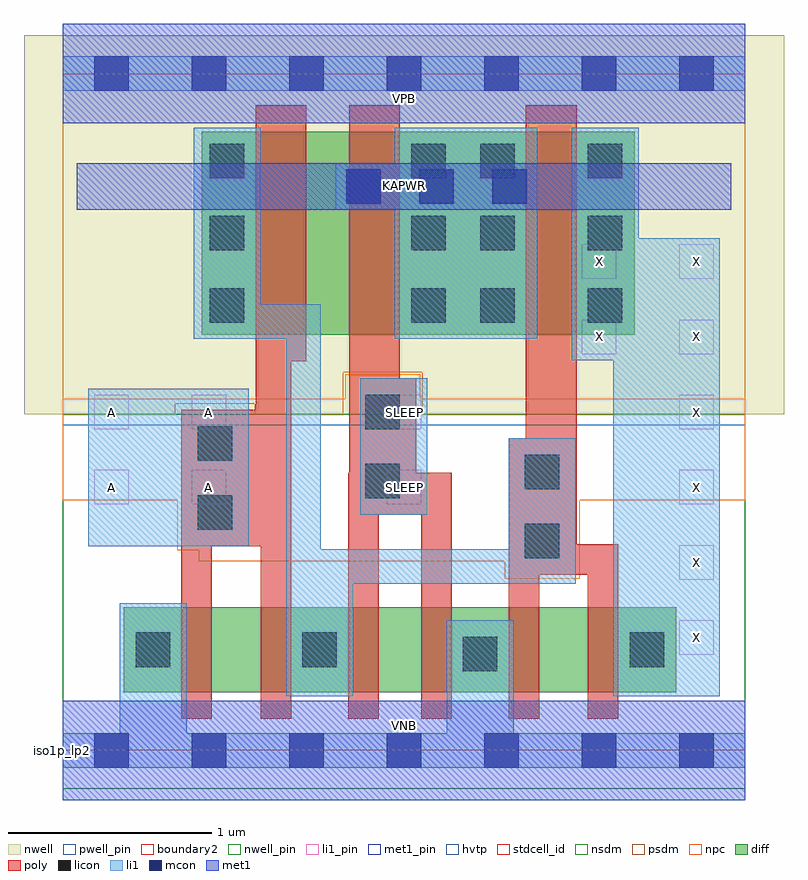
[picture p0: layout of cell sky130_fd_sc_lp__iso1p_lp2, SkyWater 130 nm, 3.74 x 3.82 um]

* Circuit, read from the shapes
.subckt sky130_fd_sc_lp__iso1p_lp2 A KAPWR SLEEP VGND VNB VPB VPWR X
XM1 n1 A VGND VNB sky130_fd_pr__nfet_01v8 w=0.42 l=0.15
XM2 n2 A n1 VNB sky130_fd_pr__nfet_01v8 w=0.42 l=0.15
XM3 n3 SLEEP n2 VNB sky130_fd_pr__nfet_01v8 w=0.42 l=0.15
XM4 VGND SLEEP n3 VNB sky130_fd_pr__nfet_01v8 w=0.42 l=0.15
XM5 n4 n2 VGND VNB sky130_fd_pr__nfet_01v8 w=0.42 l=0.15
XM6 X n2 n4 VNB sky130_fd_pr__nfet_01v8 w=0.42 l=0.15
XM7 n5 A n2 VPB sky130_fd_pr__pfet_01v8_hvt w=1 l=0.25
XM8 KAPWR SLEEP n5 VPB sky130_fd_pr__pfet_01v8_hvt w=1 l=0.25
XM9 X n2 KAPWR VPB sky130_fd_pr__pfet_01v8_hvt w=1 l=0.25
.ends

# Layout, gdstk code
import gdstk
lib = gdstk.Library(unit=1e-6, precision=1e-09)
def R(c, l, rs):  # rectangles x0, y0, x1, y1
    for r in rs: c.add(gdstk.rectangle(r[:2], r[2:], *l))
def A(c, l, x, y, w, h, nx, ny, dx, dy):  # array of equal rectangles
    R(c, l, [(x+i*dx, y+j*dy, x+i*dx+w, y+j*dy+h) for i in range(nx) for j in range(ny)])
def P(c, l, *ps):  # polygons
    for p in ps: c.add(gdstk.Polygon(p, *l))
nwell_pin = (64, 16)
nwell = (64, 20)
diff = (65, 20)
poly = (66, 20)
licon = (66, 44)
li1_pin = (67, 16)
li1 = (67, 20)
mcon = (67, 44)
met1_pin = (68, 16)
met1 = (68, 20)
hvtp = (78, 44)
stdcell_id = (81, 4)
nsdm = (93, 44)
psdm = (94, 20)
npc = (95, 20)
pwell_pin = (122, 16)
boundary2 = (236, 0)

sky130_fd_sc_lp__iso1p_l = lib.new_cell('sky130_fd_sc_lp__iso1p_lp2')
R(sky130_fd_sc_lp__iso1p_l, nwell_pin, [(0,3.085,3.36,3.33)])
R(sky130_fd_sc_lp__iso1p_l, nwell, [(-0.19,1.655,3.55,3.52)])
R(sky130_fd_sc_lp__iso1p_l, diff, [(0.3,0.285,3.02,0.705), (0.685,2.045,2.815,3.045)])
P(sky130_fd_sc_lp__iso1p_l, poly, [(1.2,3.175),(0.95,3.175),(0.95,1.675),(0.585,1.675),(0.585,0.155),(0.735,0.155),(0.735,1.005),(0.975,1.005),(0.975,0.155),(1.125,0.155),(1.125,1.915),(1.2,1.915)],
  [(1.915,1.365),(1.74,1.365),(1.74,1.83),(1.66,1.83),(1.66,3.175),(1.41,3.175),(1.41,1.365),(1.405,1.365),(1.405,0.155),(1.555,0.155),(1.555,1.16),(1.765,1.16),(1.765,0.155),(1.915,0.155)],
  [(2.735,1.015),(2.53,1.015),(2.53,3.175),(2.28,3.175),(2.28,1.535),(2.195,1.535),(2.195,0.155),(2.345,0.155),(2.345,0.865),(2.585,0.865),(2.585,0.155),(2.735,0.155)])
A(sky130_fd_sc_lp__iso1p_l, licon, 0.725, 2.105, 0.17, 0.17, 1, 3, 0, 0.355)
A(sky130_fd_sc_lp__iso1p_l, licon, 1.715, 2.105, 0.17, 0.17, 1, 3, 0, 0.355)
A(sky130_fd_sc_lp__iso1p_l, licon, 2.055, 2.105, 0.17, 0.17, 1, 3, 0, 0.355)
A(sky130_fd_sc_lp__iso1p_l, licon, 2.585, 2.105, 0.17, 0.17, 1, 3, 0, 0.355)
R(sky130_fd_sc_lp__iso1p_l, licon, [(1.97,0.39,2.14,0.56), (0.36,0.41,0.53,0.58), (1.18,0.41,1.35,0.58), (2.79,0.41,2.96,0.58), (2.275,0.945,2.445,1.115), (0.665,1.085,0.835,1.255), (1.49,1.24,1.66,1.41), (2.275,1.285,2.445,1.455), (0.665,1.425,0.835,1.595), (1.49,1.58,1.66,1.75)])
A(sky130_fd_sc_lp__iso1p_l, li1_pin, 3.035, 0.47, 0.17, 0.17, 1, 6, 0, 0.37)
R(sky130_fd_sc_lp__iso1p_l, li1_pin, [(0.155,1.21,0.325,1.38), (0.635,1.21,0.805,1.38), (1.595,1.21,1.765,1.38), (0.155,1.58,0.325,1.75), (0.635,1.58,0.805,1.75), (1.595,1.58,1.765,1.75), (2.555,1.95,2.725,2.12), (2.555,2.32,2.725,2.49)])
R(sky130_fd_sc_lp__iso1p_l, li1, [(0.125,1.005,0.915,1.78), (1.465,1.16,1.795,1.83), (0,3.245,3.36,3.415)])
P(sky130_fd_sc_lp__iso1p_l, li1, [(0.28,0.085),(0.28,0.725),(0.61,0.725),(0.61,0.085),(1.89,0.085),(1.89,0.64),(2.22,0.64),(2.22,0.085),(3.36,0.085),(3.36,-0.085),(0,-0.085),(0,0.085)],
  [(1.635,2.025),(1.635,2.66),(1.345,2.66),(1.345,2.89),(1.635,2.89),(1.635,3.065),(2.335,3.065),(2.335,2.025)],
  [(1.1,2.025),(0.645,2.025),(0.645,3.065),(0.975,3.065),(0.975,2.195),(1.27,2.195),(1.27,0.99),(2.195,0.99),(2.195,1.535),(2.525,1.535),(2.525,0.82),(1.43,0.82),(1.43,0.265),(1.1,0.265)],
  [(2.71,0.265),(2.71,1.92),(2.505,1.92),(2.505,3.065),(2.835,3.065),(2.835,2.52),(3.235,2.52),(3.235,0.265)])
A(sky130_fd_sc_lp__iso1p_l, mcon, 0.155, -0.085, 0.17, 0.17, 7, 2, 0.48, 3.33)
A(sky130_fd_sc_lp__iso1p_l, mcon, 1.395, 2.69, 0.17, 0.17, 3, 1, 0.36, 0)
R(sky130_fd_sc_lp__iso1p_l, met1_pin, [(0,0,3.36,0.245), (0.07,2.66,3.29,2.89), (0,3.085,3.36,3.33)])
R(sky130_fd_sc_lp__iso1p_l, met1, [(0,-0.245,3.36,0.245), (0.07,2.66,3.29,2.89), (0,3.085,3.36,3.575)])
R(sky130_fd_sc_lp__iso1p_l, hvtp, [(0,1.6,3.36,3.33)])
R(sky130_fd_sc_lp__iso1p_l, stdcell_id, [(0,0,3.36,3.33)])
R(sky130_fd_sc_lp__iso1p_l, nsdm, [(0,-0.19,3.36,1.655)])
P(sky130_fd_sc_lp__iso1p_l, psdm, [(3.36,3.52),(0,3.52),(0,1.655),(0.555,1.655),(0.555,1.705),(0.945,1.705),(0.945,1.655),(1.38,1.655),(1.38,1.86),(1.77,1.86),(1.77,1.655),(3.36,1.655)])
P(sky130_fd_sc_lp__iso1p_l, npc, [(3.36,1.73),(1.76,1.73),(1.76,1.85),(1.39,1.85),(1.39,1.73),(0,1.73),(0,1.23),(0.565,1.23),(0.565,0.985),(0.67,0.985),(0.67,0.93),(2.175,0.93),(2.175,0.845),(2.545,0.845),(2.545,1.23),(3.36,1.23)])
R(sky130_fd_sc_lp__iso1p_l, pwell_pin, [(0,0,3.36,0.245)])
R(sky130_fd_sc_lp__iso1p_l, boundary2, [(0,0,3.36,3.33)])
sky130_fd_sc_lp__iso1p_l.add(gdstk.Label('VNB', (1.68,0.123), layer=64, texttype=59))
sky130_fd_sc_lp__iso1p_l.add(gdstk.Label('VPB', (1.68,3.208), layer=64, texttype=5))
sky130_fd_sc_lp__iso1p_l.add(gdstk.Label('iso1p_lp2', (0,0), layer=83, texttype=44))
sky130_fd_sc_lp__iso1p_l.add(gdstk.Label('KAPWR', (1.68,2.778), layer=68, texttype=5))
sky130_fd_sc_lp__iso1p_l.add(gdstk.Label('VPWR', (1.68,3.208), layer=68, texttype=5))
sky130_fd_sc_lp__iso1p_l.add(gdstk.Label('VGND', (1.68,0.123), layer=68, texttype=5))
sky130_fd_sc_lp__iso1p_l.add(gdstk.Label('A', (0.24,1.295), layer=67, texttype=5))
sky130_fd_sc_lp__iso1p_l.add(gdstk.Label('A', (0.24,1.665), layer=67, texttype=5))
sky130_fd_sc_lp__iso1p_l.add(gdstk.Label('A', (0.72,1.295), layer=67, texttype=5))
sky130_fd_sc_lp__iso1p_l.add(gdstk.Label('A', (0.72,1.665), layer=67, texttype=5))
sky130_fd_sc_lp__iso1p_l.add(gdstk.Label('SLEEP', (1.68,1.665), layer=67, texttype=5))
sky130_fd_sc_lp__iso1p_l.add(gdstk.Label('SLEEP', (1.68,1.295), layer=67, texttype=5))
sky130_fd_sc_lp__iso1p_l.add(gdstk.Label('X', (2.64,2.035), layer=67, texttype=5))
sky130_fd_sc_lp__iso1p_l.add(gdstk.Label('X', (2.64,2.405), layer=67, texttype=5))
sky130_fd_sc_lp__iso1p_l.add(gdstk.Label('X', (3.12,1.295), layer=67, texttype=5))
sky130_fd_sc_lp__iso1p_l.add(gdstk.Label('X', (3.12,2.035), layer=67, texttype=5))
sky130_fd_sc_lp__iso1p_l.add(gdstk.Label('X', (3.12,2.405), layer=67, texttype=5))
sky130_fd_sc_lp__iso1p_l.add(gdstk.Label('X', (3.12,1.665), layer=67, texttype=5))
sky130_fd_sc_lp__iso1p_l.add(gdstk.Label('X', (3.12,0.555), layer=67, texttype=5))
sky130_fd_sc_lp__iso1p_l.add(gdstk.Label('X', (3.12,0.925), layer=67, texttype=5))

lib.write_gds('sky130_fd_sc_lp__iso1p_lp2.gds')
